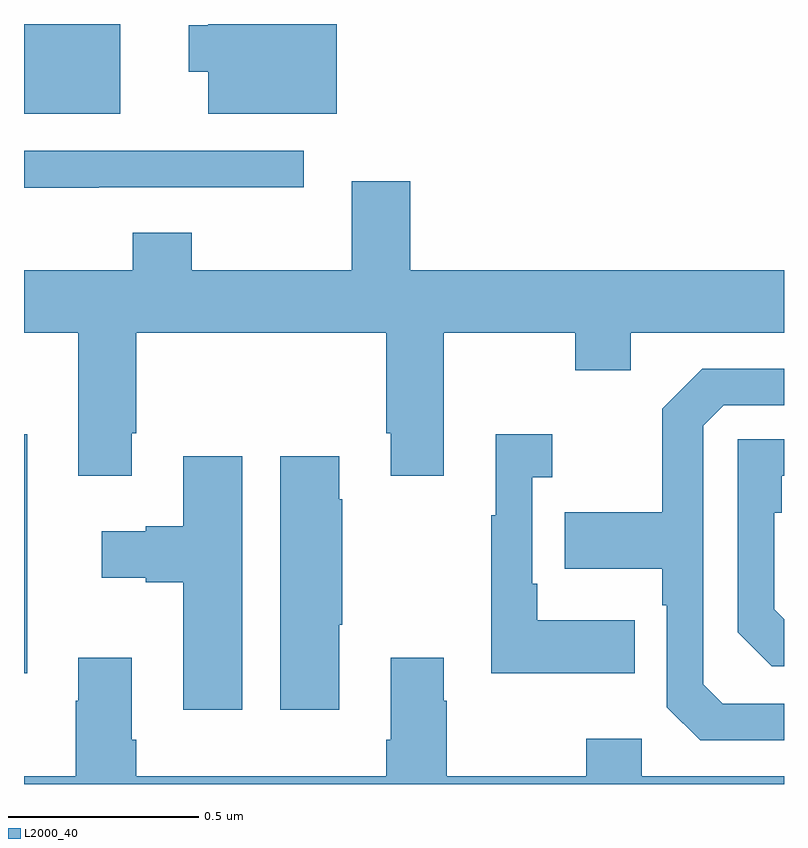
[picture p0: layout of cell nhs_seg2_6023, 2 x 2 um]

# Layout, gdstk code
import gdstk
lib = gdstk.Library(unit=1e-6, precision=1e-09)
def R(c, l, rs):  # rectangles x0, y0, x1, y1
    for r in rs: c.add(gdstk.rectangle(r[:2], r[2:], *l))
def P(c, l, *ps):  # polygons
    for p in ps: c.add(gdstk.Polygon(p, *l))
L2000_40 = (2000, 40)

nhs_seg2_6023 = lib.new_cell('nhs_seg2_6023')
R(nhs_seg2_6023, L2000_40, [(186,628.091,186.008,628.72), (186,629.564,186.253,629.8)])
P(nhs_seg2_6023, L2000_40, [(186.823,629.8),(186.485,629.8),(186.485,629.797),(186.434,629.797),(186.434,629.675),(186.485,629.675),(186.485,629.564),(186.823,629.564)],
  [(186.197,629.37),(186.736,629.37),(186.736,629.466),(186,629.466),(186,629.369),(186.197,629.369)],
  [(186.283,628.723),(186.296,628.723),(186.296,628.988),(186.953,628.988),(186.953,628.723),(186.965,628.723),(186.965,628.611),(187.105,628.611),(187.105,628.988),(187.45,628.988),(187.45,628.889),(187.597,628.889),(187.597,628.988),(188,628.988),(188,629.152),(187.016,629.152),(187.016,629.386),(186.863,629.386),(186.863,629.152),(186.441,629.152),(186.441,629.251),(186.286,629.251),(186.286,629.152),(186,629.152),(186,628.988),(186.143,628.988),(186.143,628.611),(186.283,628.611)],
  [(188,628.011),(187.839,628.011),(187.788,628.062),(187.788,628.743),(187.842,628.797),(188,628.797),(188,628.893),(187.785,628.893),(187.68,628.787),(187.68,628.515),(187.423,628.515),(187.423,628.367),(187.68,628.367),(187.68,628.271),(187.692,628.271),(187.692,628.002),(187.779,627.915),(188,627.915)],
  [(187.607,628.231),(187.351,628.231),(187.351,628.327),(187.338,628.327),(187.338,628.607),(187.39,628.607),(187.39,628.72),(187.241,628.72),(187.241,628.507),(187.23,628.507),(187.23,628.091),(187.607,628.091)],
  [(188,628.234),(187.974,628.26),(187.974,628.514),(187.994,628.514),(187.994,628.611),(188,628.611),(188,628.707),(187.878,628.707),(187.878,628.2),(187.968,628.11),(188,628.11)],
  [(186.574,628.663),(186.419,628.663),(186.419,628.478),(186.32,628.478),(186.32,628.465),(186.204,628.465),(186.204,628.343),(186.32,628.343),(186.32,628.331),(186.419,628.331),(186.419,627.996),(186.574,627.996)],
  [(186.829,628.219),(186.837,628.219),(186.837,628.55),(186.829,628.55),(186.829,628.663),(186.674,628.663),(186.674,627.996),(186.829,627.996)],
  [(188,627.82),(187.626,627.82),(187.626,627.919),(187.48,627.919),(187.48,627.82),(187.113,627.82),(187.113,628.019),(187.105,628.019),(187.105,628.132),(186.965,628.132),(186.965,627.916),(186.953,627.916),(186.953,627.82),(186.296,627.82),(186.296,627.916),(186.283,627.916),(186.283,628.132),(186.143,628.132),(186.143,628.019),(186.136,628.019),(186.136,627.82),(186,627.82),(186,627.8),(188,627.8)])

lib.write_gds('nhs_seg2_6023.gds')
